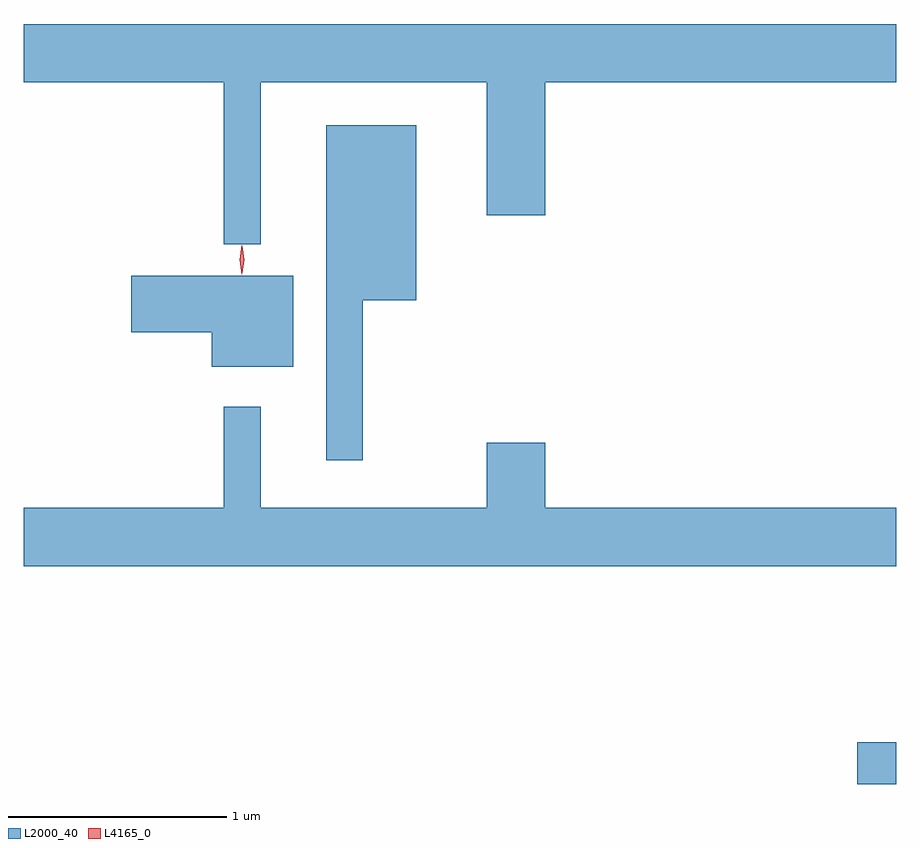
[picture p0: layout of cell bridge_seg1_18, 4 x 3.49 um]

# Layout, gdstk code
import gdstk
lib = gdstk.Library(unit=1e-6, precision=1e-09)
def R(c, l, rs):  # rectangles x0, y0, x1, y1
    for r in rs: c.add(gdstk.rectangle(r[:2], r[2:], *l))
def P(c, l, *ps):  # polygons
    for p in ps: c.add(gdstk.Polygon(p, *l))
L2000_40 = (2000, 40)
L4165_0 = (4165, 0)

bridge_seg1_18 = lib.new_cell('bridge_seg1_18')
R(bridge_seg1_18, L2000_40, [(1615.376,840.858,1615.554,841.049)])
P(bridge_seg1_18, L2000_40, [(1612.639,844.076),(1613.676,844.076),(1613.676,843.466),(1613.944,843.466),(1613.944,844.076),(1615.554,844.076),(1615.554,844.344),(1611.554,844.344),(1611.554,844.076),(1612.471,844.076),(1612.471,843.333),(1612.639,843.333)],
  [(1613.109,843.076),(1613.354,843.076),(1613.354,843.879),(1612.941,843.879),(1612.941,842.343),(1613.109,842.343)],
  [(1612.789,843.189),(1612.046,843.189),(1612.046,842.931),(1612.416,842.931),(1612.416,842.771),(1612.789,842.771)],
  [(1615.554,842.124),(1613.944,842.124),(1613.944,842.424),(1613.676,842.424),(1613.676,842.124),(1612.639,842.124),(1612.639,842.588),(1612.471,842.588),(1612.471,842.124),(1611.554,842.124),(1611.554,841.856),(1615.554,841.856)])
P(bridge_seg1_18, L4165_0, [(1612.554,843.2),(1612.545,843.263),(1612.554,843.326),(1612.555,843.327),(1612.555,843.326),(1612.565,843.263),(1612.555,843.2),(1612.555,843.2)],
  [(1612.552,843.194),(1612.543,843.262),(1612.552,843.33),(1612.553,843.33),(1612.553,843.33),(1612.563,843.262),(1612.553,843.194),(1612.553,843.194)])

lib.write_gds('bridge_seg1_18.gds')
